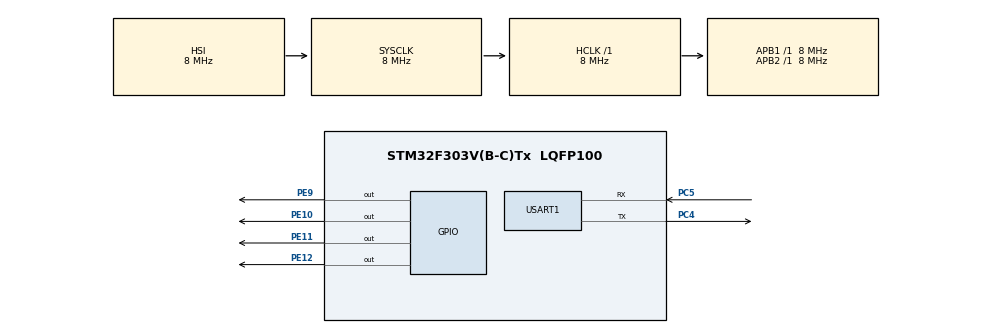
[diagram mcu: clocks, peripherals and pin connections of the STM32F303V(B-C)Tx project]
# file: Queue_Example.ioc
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FREERTOS.Queues01=myQueue01,16,char*,0,Dynamic,NULL,NULL;myQueue02,16,char*,0,Dynamic,NULL,NULL
FREERTOS.Tasks01=defaultTask,-3,128,StartDefaultTask,Default,NULL,Dynamic,NULL,NULL;usermonitor,2,250,user_monitor,Default,NULL,Dynamic,NULL,NULL;usermonitoruart,2,250,user_mon_uart,Default,NULL,Dynamic,NULL,NULL;readuserdata,2,128,read_user_data,Default,NULL,Dynamic,NULL,NULL;processdata,2,128,process_data,Default,NULL,Dynamic,NULL,NULL
FREERTOS.Timers01=Timer01,PTCallBack,osTimerPeriodic,Default,NULL,Dynamic,NULL
FREERTOS.configIDLE_SHOULD_YIELD=1
FREERTOS.configTIMER_TASK_PRIORITY=6
FREERTOS.configTOTAL_HEAP_SIZE=8072
FREERTOS.configUSE_MUTEXES=0
FREERTOS.configUSE_TIMERS=1
Mcu.Family=STM32F3
Mcu.Name=STM32F303V(B-C)Tx
Mcu.Package=LQFP100
NVIC.PriorityGroup=NVIC_PRIORITYGROUP_4
NVIC.TIM6_DAC_IRQn=true\:15\:0\:false\:false\:true\:false\:false\:true\:true
NVIC.TimeBase=TIM6_DAC_IRQn
NVIC.TimeBaseIP=TIM6
NVIC.USART1_IRQn=true\:5\:0\:false\:false\:true\:true\:true\:true\:true
PC4.Mode=Asynchronous
PC4.Signal=USART1_TX
PC5.Mode=Asynchronous
PC5.Signal=USART1_RX
PE10.Signal=GPIO_Output
PE11.Signal=GPIO_Output
PE12.Signal=GPIO_Output
PE9.Signal=GPIO_Output
ProjectManager.HeapSize=0x200
ProjectManager.StackSize=0x400
ProjectManager.TargetToolchain=STM32CubeIDE
RCC.AHBFreq_Value=8000000
RCC.APB1Freq_Value=8000000
RCC.APB2Freq_Value=8000000
RCC.CortexFreq_Value=8000000
RCC.HSE_VALUE=8000000
RCC.HSI_VALUE=8000000
RCC.LSE_VALUE=32768
RCC.SYSCLKFreq_VALUE=8000000
USART1.VirtualMode-Asynchronous=VM_ASYNC
VP_FREERTOS_VS_CMSIS_V1.Mode=CMSIS_V1
VP_SYS_VS_tim6.Mode=TIM6
board=custom

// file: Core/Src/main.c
/* USER CODE BEGIN Header */
/**
  ******************************************************************************
  * @file           : main.c
  * @brief          : Main program body
  ******************************************************************************
  * @attention
  *
  * Copyright (c) 2023 STMicroelectronics.
  * All rights reserved.
  *
  * This software is licensed under terms that can be found in the LICENSE file
  * in the root directory of this software component.
  * If no LICENSE file comes with this software, it is provided AS-IS.
  *
  ******************************************************************************
  */
/* USER CODE END Header */
#include "main.h"
#include "cmsis_os.h"

/* USER CODE BEGIN Includes */
#include "string.h"
#include "stdio.h"
/* USER CODE END Includes */

/* USER CODE BEGIN PD */
#define     OUTPUT_ON           49 //char to decimal
#define     OUTPUT_OFF          50
#define     OUTPUT_TOGGLE_ON    51
#define     OUTPUT_TOGGLE_OFF   52
#define     OUTPUT_READ_PIN     53
#define     EXIT_API            54

/* USER CODE END PD */

UART_HandleTypeDef huart1;

osThreadId defaultTaskHandle;
osThreadId usermonitorHandle;
osThreadId usermonitoruartHandle;
osThreadId readuserdataHandle;
osThreadId processdataHandle;
osMessageQId myQueue01Handle;
osMessageQId myQueue02Handle;
osTimerId Timer01Handle;
/* USER CODE BEGIN PV */
char monitor[]="\r\n Output on               ->  1 \
	         	\r\n Output off               ->  2 \
		        \r\n Output Toggle on    ->  3 \
		        \r\n Output Toggle off    ->  4 \
	            \r\n Output Read           ->  5 \
		        \r\n Exit App                 ->  6 ";
uint8_t user[1]={0};

/* USER CODE END PV */

void SystemClock_Config(void);
static void MX_GPIO_Init(void);
static void MX_USART1_UART_Init(void);

void user_monitor(void const * argument);
void user_mon_uart(void const * argument);
void read_user_data(void const * argument);
void process_data(void const * argument);
void PTCallBack(void const * argument);
void vApplicationIdleHook(void);

/* USER CODE BEGIN PFP */

void HAL_UART_RxCpltCallback(UART_HandleTypeDef *huart)
{

	if(!(huart1.Instance->ISR & UART_FLAG_RXNE) ){

		HAL_UART_Receive_IT(&huart1, user,2);

		osSignalSet(usermonitorHandle, 0);

		 osSignalSet(readuserdataHandle, 0);

}

}

/* USER CODE END PFP */

/* USER CODE BEGIN 0 */

typedef struct{

	uint8_t num;

	uint8_t command[10];

}APP_COMMAND_t;

/* USER CODE END 0 */

int main(void)
{

  /* MCU Configuration--------------------------------------------------------*/

  /* Reset of all peripherals, Initializes the Flash interface and the Systick. */
  HAL_Init();

  /* Configure the system clock */
  SystemClock_Config();

  /* Initialize all configured peripherals */
  MX_GPIO_Init();
  MX_USART1_UART_Init();

  /* Create the timer(s) */
  /* definition and creation of Timer01 */
  osTimerDef(Timer01, PTCallBack);
 Timer01Handle = osTimerCreate(osTimer(Timer01), osTimerPeriodic, NULL);

  /* USER CODE BEGIN RTOS_TIMERS */
  /* start timers, add new ones, ... */
  HAL_UART_Receive_IT(&huart1,user,2);

  /* USER CODE END RTOS_TIMERS */

  /* Create the queue(s) */
  /* definition and creation of myQueue01 */
  osMessageQDef(myQueue01, 10, char*);
  myQueue01Handle = osMessageCreate(osMessageQ(myQueue01), NULL);

  /* definition and creation of myQueue02 */
  osMessageQDef(myQueue02, 10, sizeof(APP_COMMAND_t*));
  myQueue02Handle = osMessageCreate(osMessageQ(myQueue02), NULL);

  /* Create the thread(s) */
  /* definition and creation of defaultTask */

  /* definition and creation of usermonitor */
  osThreadDef(usermonitor, user_monitor, osPriorityAboveNormal, 0, 128);
  usermonitorHandle = osThreadCreate(osThread(usermonitor), NULL);

  /* definition and creation of usermonitoruart */
  osThreadDef(usermonitoruart, user_mon_uart, osPriorityHigh, 0, 128);
  usermonitoruartHandle = osThreadCreate(osThread(usermonitoruart), NULL);

  /* definition and creation of readuserdata */
  osThreadDef(readuserdata, read_user_data, osPriorityHigh, 0, 128);
  readuserdataHandle = osThreadCreate(osThread(readuserdata), NULL);

  /* definition and creation of processdata */
  osThreadDef(processdata, process_data, osPriorityHigh, 0, 128);
  processdataHandle = osThreadCreate(osThread(processdata), NULL);

  /* Start scheduler */
  osKernelStart();
  /* We should never get here as control is now taken by the scheduler */
  /* Infinite loop */
  while (1)
  {

  }
}

void SystemClock_Config(void)
{
  RCC_OscInitTypeDef RCC_OscInitStruct = {0};
  RCC_ClkInitTypeDef RCC_ClkInitStruct = {0};
  RCC_PeriphCLKInitTypeDef PeriphClkInit = {0};

  /** Initializes the RCC Oscillators according to the specified parameters
  * in the RCC_OscInitTypeDef structure.
  */
  RCC_OscInitStruct.OscillatorType = RCC_OSCILLATORTYPE_HSI;
  RCC_OscInitStruct.HSIState = RCC_HSI_ON;
  RCC_OscInitStruct.HSICalibrationValue = RCC_HSICALIBRATION_DEFAULT;
  RCC_OscInitStruct.PLL.PLLState = RCC_PLL_NONE;
  if (HAL_RCC_OscConfig(&RCC_OscInitStruct) != HAL_OK)
  {
    Error_Handler();
  }

  /** Initializes the CPU, AHB and APB buses clocks
  */
  RCC_ClkInitStruct.ClockType = RCC_CLOCKTYPE_HCLK|RCC_CLOCKTYPE_SYSCLK
                              |RCC_CLOCKTYPE_PCLK1|RCC_CLOCKTYPE_PCLK2;
  RCC_ClkInitStruct.SYSCLKSource = RCC_SYSCLKSOURCE_HSI;
  RCC_ClkInitStruct.AHBCLKDivider = RCC_SYSCLK_DIV1;
  RCC_ClkInitStruct.APB1CLKDivider = RCC_HCLK_DIV1;
  RCC_ClkInitStruct.APB2CLKDivider = RCC_HCLK_DIV1;

  if (HAL_RCC_ClockConfig(&RCC_ClkInitStruct, FLASH_LATENCY_0) != HAL_OK)
  {
    Error_Handler();
  }
  PeriphClkInit.PeriphClockSelection = RCC_PERIPHCLK_USART1;
  PeriphClkInit.Usart1ClockSelection = RCC_USART1CLKSOURCE_PCLK2;
  if (HAL_RCCEx_PeriphCLKConfig(&PeriphClkInit) != HAL_OK)
  {
    Error_Handler();
  }
}

static void MX_USART1_UART_Init(void)
{

  huart1.Instance = USART1;
  huart1.Init.BaudRate = 38400;
  huart1.Init.WordLength = UART_WORDLENGTH_8B;
  huart1.Init.StopBits = UART_STOPBITS_1;
  huart1.Init.Parity = UART_PARITY_NONE;
  huart1.Init.Mode = UART_MODE_TX_RX;
  huart1.Init.HwFlowCtl = UART_HWCONTROL_NONE;
  huart1.Init.OverSampling = UART_OVERSAMPLING_16;
  huart1.Init.OneBitSampling = UART_ONE_BIT_SAMPLE_DISABLE;
  huart1.AdvancedInit.AdvFeatureInit = UART_ADVFEATURE_NO_INIT;
  if (HAL_UART_Init(&huart1) != HAL_OK)
  {
    Error_Handler();
  }

}

static void MX_GPIO_Init(void)
{
  GPIO_InitTypeDef GPIO_InitStruct = {0};

  /* GPIO Ports Clock Enable */
  __HAL_RCC_GPIOC_CLK_ENABLE();
  __HAL_RCC_GPIOE_CLK_ENABLE();

  /*Configure GPIO pin Output Level */
  HAL_GPIO_WritePin(GPIOE, GPIO_PIN_9|GPIO_PIN_10|GPIO_PIN_11|GPIO_PIN_12, GPIO_PIN_RESET);

  /*Configure GPIO pins : PE9 PE10 PE11 PE12 */
  GPIO_InitStruct.Pin = GPIO_PIN_9|GPIO_PIN_10|GPIO_PIN_11|GPIO_PIN_12;
  GPIO_InitStruct.Mode = GPIO_MODE_OUTPUT_PP;
  GPIO_InitStruct.Pull = GPIO_NOPULL;
  GPIO_InitStruct.Speed = GPIO_SPEED_FREQ_LOW;
  HAL_GPIO_Init(GPIOE, &GPIO_InitStruct);

}

/* USER CODE BEGIN 4 */
void readpin(char*outputstatus){

 sprintf(outputstatus,"%d",HAL_GPIO_ReadPin(GPIOE, GPIO_PIN_9));

  osMessagePut(myQueue01Handle, (uint32_t)outputstatus, osWaitForever);

}

void toggleonpin(uint32_t delay){

	osTimerStart(Timer01Handle, delay);
	HAL_GPIO_TogglePin(GPIOE, GPIO_PIN_9|GPIO_PIN_10|GPIO_PIN_11|GPIO_PIN_12);

}
void toggleoffpin(){

	osTimerStop(Timer01Handle);

}
void setpin(void){

	HAL_GPIO_WritePin(GPIOE, GPIO_PIN_9|GPIO_PIN_10|GPIO_PIN_11|GPIO_PIN_12, GPIO_PIN_SET);

}
void resetpin(void){

	HAL_GPIO_WritePin(GPIOE, GPIO_PIN_9|GPIO_PIN_10|GPIO_PIN_11|GPIO_PIN_12, GPIO_PIN_RESET);

}
void exitapi(void){

	osThreadTerminate(usermonitoruartHandle);
	osThreadTerminate(usermonitorHandle);
	osThreadTerminate(processdataHandle);
	osThreadTerminate(readuserdataHandle);
}

/* USER CODE END 4 */

void user_monitor(void const * argument)
{
  /* USER CODE BEGIN user_monitor */
char*msg=monitor;
osMessagePut(myQueue01Handle,(uint32_t)msg, osWaitForever);

  /* Infinite loop */
  for(;;)
  {

	   if(osSignalWait(0,osWaitForever).status==osEventSignal){

		   osMessagePut(myQueue01Handle,(uint32_t)msg, osWaitForever);

	   }
}

  /* USER CODE END user_monitor */
}

void user_mon_uart(void const * argument)
{
  /* USER CODE BEGIN user_mon_uart */

osEvent event;
   char*rxdata=NULL;
   event=osMessageGet(myQueue01Handle, osWaitForever);
   rxdata=event.value.p;
   HAL_UART_Transmit_IT(&huart1, (uint8_t*)rxdata, strlen(rxdata));

  /* Infinite loop */
  for(;;)
  {
		   event=osMessageGet(myQueue01Handle, osWaitForever);
		   rxdata=event.value.p;
		   HAL_UART_Transmit_IT(&huart1, (uint8_t*)rxdata, strlen(rxdata));

  }
  /* USER CODE END user_mon_uart */
}

void read_user_data(void const * argument)
{
  /* USER CODE BEGIN read_user_data */
  /* Infinite loop */

	APP_COMMAND_t *cmd;

  for(;;)
  {
		if(osSignalWait(0, osWaitForever).status==osEventSignal){
	    cmd=(APP_COMMAND_t*)pvPortMalloc(sizeof(APP_COMMAND_t));
        cmd->num=user[0];

       	osMessagePut(myQueue02Handle,(uint32_t)cmd->num , osWaitForever);

      	osSignalSet(processdataHandle, 0);

		}

  }
  /* USER CODE END read_user_data */
}

void process_data(void const * argument)
{
	APP_COMMAND_t *cmd;
	char outputstatus[2];
	uint32_t toggletime=pdMS_TO_TICKS(500);
	osEvent event=osMessageGet(myQueue02Handle, osWaitForever);
  for(;;)
  {
	 if(osSignalWait(0, osWaitForever).status==osEventSignal){
		  event=osMessageGet(myQueue02Handle, osWaitForever);
		  cmd=(APP_COMMAND_t*)pvPortMalloc(sizeof(APP_COMMAND_t));
		  cmd->num=(uint8_t)(event.value.v);
	  }

  if((cmd->num)==OUTPUT_ON){
     	 setpin();
    	  }
  else if(cmd->num==OUTPUT_OFF){

 	  resetpin();
	  	  }
  else if(cmd->num==OUTPUT_TOGGLE_ON){

	  toggleonpin(toggletime);

	  	 	  }
  else if(cmd->num==OUTPUT_TOGGLE_OFF){

     toggleoffpin();

	  	  }
  else if(cmd->num==OUTPUT_READ_PIN){
      readpin(outputstatus);

	  	  }
  else if(cmd->num==EXIT_API){

	  exitapi();
  }

  }
}

/* PTCallBack function */
void PTCallBack(void const * argument)
{
  /* USER CODE BEGIN PTCallBack */

	if(user[0]!=OUTPUT_TOGGLE_ON){

		osTimerStop(Timer01Handle);

	}
	HAL_GPIO_TogglePin(GPIOE, GPIO_PIN_9|GPIO_PIN_10|GPIO_PIN_11|GPIO_PIN_12);

  /* USER CODE END PTCallBack */
}
void vApplicationIdleHook(void){

	__WFE();

}

void HAL_TIM_PeriodElapsedCallback(TIM_HandleTypeDef *htim)
{
  if (htim->Instance == TIM6) {
    HAL_IncTick();
  }
}

void Error_Handler(void)
{
  __disable_irq();
  while (1)
  {
  }
}
